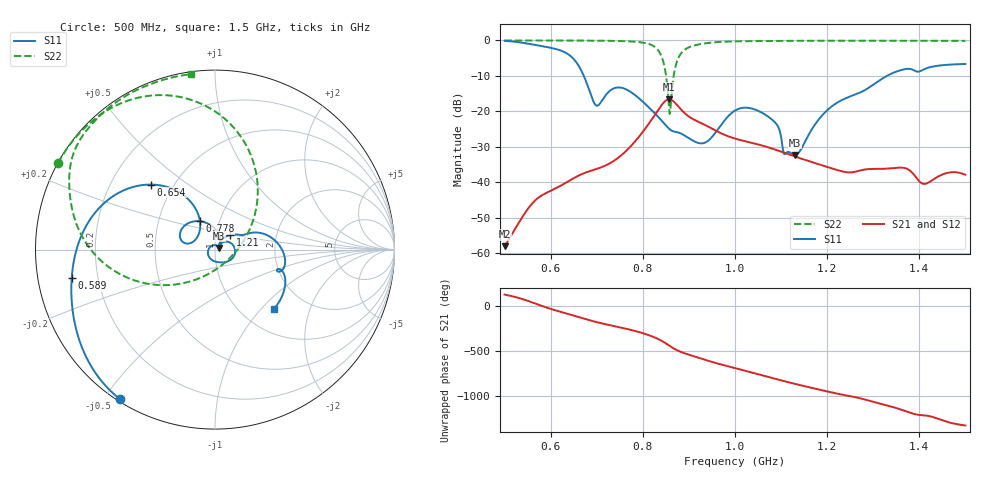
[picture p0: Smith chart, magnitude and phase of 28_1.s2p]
! TOUCHSTONE file generated by CST MICROWAVE STUDIO
! Date and time: Mon Oct 26 12:08:41 2020
! Project name: Scenario_1_Circular_Tissue_out_of_Line_v2.cst
! Parameters = {dy1=121.1; L_HA=400; MT=2.54; Rad_Dielectric=30; Rad_Lower=7.3; Rad_Upper=30; a_HA=580; a_WG=246; b_HA=500; b_WG=121; c_HA=0; c_WG=187; d_feed=85; dx1=173; h_feed=15; h_lower=18; h_upper=40}
! Header version: 2018
! Port assignment regex: !\s*Touchstone port\s*([0-9]+)\s*=\s*(CST MWS port|CST DS port)\s*([0-9]+|Zmin|Zmax)\s*\(\"(.*)\"\)(\s*mode\s*([0-9]+))?.*
! Touchstone port assignment:
! Touchstone port 1 = CST MWS port 1 ("")
! Touchstone port 2 = CST MWS port 2 ("")
# GHz S DB R 50
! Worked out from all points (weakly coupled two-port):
!   1003 points, 500 MHz to 1.5 GHz, reference 50 ohm
!   highest |S21| = -16.59 dB at 857 MHz (marker M1); lowest = -57.9 dB at 500 MHz (marker M2)
!   lowest |S11| = -32.2 dB at 1.13 GHz (marker M3), VSWR 1.05, Z = 52.3 + j0.962 ohm
!   |S11| at or under -10 dB: 671.9 MHz to 1.329 GHz (657.6 MHz wide, 65.7 % of centre)
!   |S22| runs from -20.7 to 0.0 dB; largest |S21 - S12| = 4.8e-05
!   S11 on the Smith chart (normalised r, x): 500 MHz: 0.01, -0.55; 589 MHz: 0.10, -0.10; 654 MHz: 0.38, +0.37; 778 MHz: 0.80, +0.26; 1.21 GHz: 1.17, +0.19; 1.5 GHz: 1.40, -1.18
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0.5  -0.11 -122.5  -57.94 127.3  -57.94 127.3  -0.01 151.1
0.589  -1.79 -168.8  -43.04 -15.0  -43.04 -15.0  -0.02 144.9
0.654  -5.89 134.5  -38.50 -113.8  -38.50 -113.8  -0.04 139.6
0.667  -8.63 121.5  -37.68 -133.8  -37.68 -133.8  -0.04 138.4
0.699  -18.34 142.8  -36.23 -179.4  -36.23 -179.4  -0.07 135.0
0.739  -13.40 156.1  -33.75 133.8  -33.75 133.8  -0.13 129.5
0.778  -14.90 118.4  -29.20 87.7  -29.20 87.7  -0.31 121.2
0.834  -21.62 73.5  -19.44 -10.7  -19.44 -10.7  -2.91 84.1
0.846  -23.34 65.4  -17.40 -44.5  -17.40 -44.5  -6.81 59.1
0.857  -24.86 60.6  -16.59 -81.3  -16.59 -81.3  -19.50 -14.5
0.869  -25.70 57.4  -17.46 -119.7  -17.46 -119.7  -8.39 -148.9
0.894  -27.05 39.7  -20.85 -174.1  -20.85 -174.1  -2.34 172.0
0.937  -28.66 39.9  -23.94 115.8  -23.94 115.8  -0.79 152.8
1  -19.77 15.2  -27.64 26.6  -27.64 26.6  -0.26 140.4
1.073  -21.56 -58.3  -30.14 -73.7  -30.14 -73.7  -0.16 132.2
1.108  -32.03 78.8  -31.67 -121.1  -31.67 -121.1  -0.12 129.1
1.13  -32.24 22.1  -32.67 -149.4  -32.67 -149.4  -0.11 127.2
1.167  -24.98 56.0  -34.27 165.0  -34.27 165.0  -0.10 124.2
1.21  -18.58 44.0  -36.04 114.4  -36.04 114.4  -0.09 120.9
1.334  -9.69 10.7  -36.06 -36.1  -36.06 -36.1  -0.09 111.5
1.41  -8.14 -17.6  -40.41 -141.0  -40.41 -141.0  -0.10 105.6
1.5  -6.63 -45.0  -37.82 106.4  -37.80 106.5  -0.12 97.9
